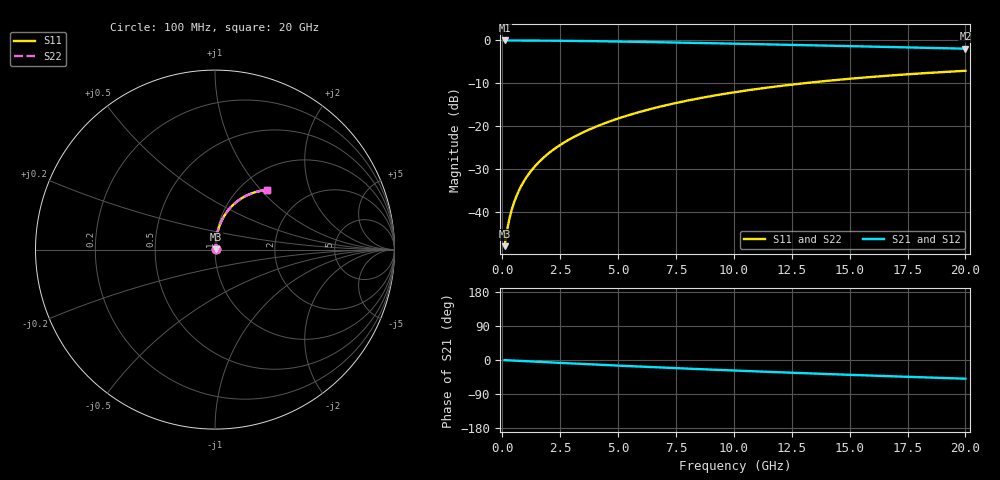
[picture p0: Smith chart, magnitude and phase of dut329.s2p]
! Touchstone file exported from HFSS 2024.1.0
!  File:  C:/UserFiles/LocalFiles/RDL_TSV_Batchsim/temp_RDL_bottom_329_1779611420.aedt
!  Generated:  04:32:54 PM May 24, 2026
!  Design:  RDL_bottom
!  Project:  temp_RDL_bottom_329_1779611420
!  Setup:  Setup1
!  Solution:  Sweep
! Variables:
!  dtsv = 10.80580581um
!  hbump = 3um
!  htsv = 72.55um
!  ldown = 688.21um
!  lrdl = 100um
!  p = 40
!  p1 = 56.22um
!  rhole = 1um
!  t = 450um
!  tdown = 3.91um
!  trdl = 3.915915916um
!  wdown = 21.4um
!  wrdl = 20um
# GHz S MA R 50.000000
! Terminal data exported
! Port[1] = RDL1_T1
! Port[2] = RDL1_T2
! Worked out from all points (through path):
!   200 points, 100 MHz to 20 GHz, reference 50 ohm
!   highest |S21| = -0.03 dB at 100 MHz (marker M1); lowest = -1.9 dB at 20 GHz (marker M2)
!   group delay of S21, straight-line fit = 6.8 ps
!   lowest |S11| = -47.9 dB at 100 MHz (marker M3), VSWR 1.01, Z = 50.3 + j0.262 ohm
!   |S11| at or under -10 dB: start of sweep to 12.99 GHz
!   |S22| runs from -47.9 to -7.1 dB; largest |S21 - S12| = 4.2e-15
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0.1  0.004034 40.2  0.9969 -0.3  0.9969 -0.3  0.004034 40.2
! Gamma 0 0 0 0
! Port Impedance 50 0 50 0
0.2  0.006057 57.6  0.9967 -0.6  0.9967 -0.6  0.006057 57.6
0.3  0.008279 65.7  0.9965 -0.9  0.9965 -0.9  0.008279 65.7
0.4  0.01054 70.3  0.9963 -1.2  0.9963 -1.2  0.01054 70.3
0.5  0.01283 73.3  0.9961 -1.6  0.9961 -1.6  0.01283 73.3
0.6  0.01513 75.4  0.9959 -1.9  0.9959 -1.9  0.01513 75.4
0.8  0.01979 78.3  0.9955 -2.5  0.9955 -2.5  0.01979 78.3
1.1  0.02687 80.6  0.9947 -3.4  0.9947 -3.4  0.02687 80.6
1.5  0.03641 82.0  0.9934 -4.6  0.9934 -4.6  0.03641 82.0
1.8  0.04364 82.6  0.9922 -5.5  0.9922 -5.5  0.04364 82.6
2.1  0.0509 82.8  0.9908 -6.4  0.9908 -6.4  0.0509 82.8
2.7  0.06556 82.8  0.9874 -8.2  0.9874 -8.2  0.06556 82.8
3.5  0.08537 82.2  0.9819 -10.5  0.9819 -10.5  0.08537 82.2
4.2  0.1029 81.4  0.9763 -12.5  0.9763 -12.5  0.1029 81.4
5  0.1231 80.2  0.9692 -14.8  0.9692 -14.8  0.1231 80.2
6.8  0.1689 76.9  0.951 -19.6  0.951 -19.6  0.169 76.9
8.4  0.2092 73.5  0.9334 -23.8  0.9334 -23.8  0.2092 73.5
10.1  0.2507 69.7  0.914 -28.0  0.914 -28.0  0.2507 69.7
11.7  0.2878 66.1  0.8952 -31.8  0.8952 -31.8  0.2878 66.1
13.4  0.3249 62.3  0.8752 -35.6  0.8752 -35.6  0.3249 62.3
16.7  0.3889 55.2  0.8367 -42.7  0.8367 -42.7  0.389 55.2
20  0.4425 48.6  0.7997 -49.3  0.7997 -49.3  0.4425 48.6
